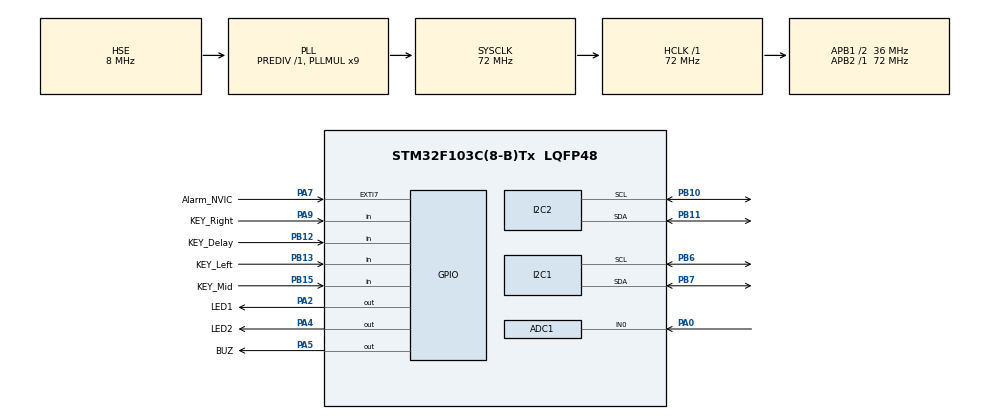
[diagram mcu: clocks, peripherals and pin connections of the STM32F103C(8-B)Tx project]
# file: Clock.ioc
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ADC1.Channel-3\#ChannelRegularConversion=ADC_CHANNEL_0
ADC1.ContinuousConvMode=ENABLE
ADC1.EnableAnalogWatchDog=false
ADC1.NbrOfConversionFlag=1
ADC1.Rank-3\#ChannelRegularConversion=1
ADC1.SamplingTime-3\#ChannelRegularConversion=ADC_SAMPLETIME_239CYCLES_5
ADC1.master=1
Mcu.Family=STM32F1
Mcu.Name=STM32F103C(8-B)Tx
Mcu.Package=LQFP48
NVIC.EXTI9_5_IRQn=true\:0\:0\:false\:false\:true\:true\:true\:true
NVIC.PriorityGroup=NVIC_PRIORITYGROUP_4
PA0-WKUP.Signal=ADCx_IN0
PA13.Mode=Serial_Wire
PA13.Signal=SYS_JTMS-SWDIO
PA14.Mode=Serial_Wire
PA14.Signal=SYS_JTCK-SWCLK
PA2.GPIO_Label=LED1
PA2.GPIO_ModeDefaultOutputPP=GPIO_MODE_OUTPUT_PP
PA2.GPIO_PuPd=GPIO_PULLUP
PA2.PinState=GPIO_PIN_SET
PA2.Signal=GPIO_Output
PA4.GPIO_Label=LED2
PA4.GPIO_PuPd=GPIO_PULLUP
PA4.PinState=GPIO_PIN_SET
PA4.Signal=GPIO_Output
PA5.GPIO_Label=BUZ
PA5.GPIO_ModeDefaultOutputPP=GPIO_MODE_OUTPUT_PP
PA5.GPIO_PuPd=GPIO_PULLUP
PA5.PinState=GPIO_PIN_SET
PA5.Signal=GPIO_Output
PA7.GPIO_Label=Alarm_NVIC
PA7.GPIO_ModeDefaultEXTI=GPIO_MODE_IT_FALLING
PA7.GPIO_PuPd=GPIO_PULLUP
PA7.Signal=GPXTI7
PA9.GPIO_Label=KEY_Right
PA9.GPIO_PuPd=GPIO_PULLUP
PA9.Signal=GPIO_Input
PB10.Mode=I2C
PB10.Signal=I2C2_SCL
PB11.Mode=I2C
PB11.Signal=I2C2_SDA
PB12.GPIO_Label=KEY_Delay
PB12.GPIO_PuPd=GPIO_PULLUP
PB12.Signal=GPIO_Input
PB13.GPIO_Label=KEY_Left
PB13.GPIO_PuPd=GPIO_PULLUP
PB13.Signal=GPIO_Input
PB15.GPIO_Label=KEY_Mid
PB15.GPIO_PuPd=GPIO_PULLUP
PB15.Signal=GPIO_Input
PB6.Mode=I2C
PB6.Signal=I2C1_SCL
PB7.Mode=I2C
PB7.Signal=I2C1_SDA
PD0-OSC_IN.Mode=HSE-External-Oscillator
PD0-OSC_IN.Signal=RCC_OSC_IN
PD1-OSC_OUT.Mode=HSE-External-Oscillator
PD1-OSC_OUT.Signal=RCC_OSC_OUT
ProjectManager.HeapSize=0x200
ProjectManager.StackSize=0x400
ProjectManager.TargetToolchain=STM32CubeIDE
RCC.ADCPresc=RCC_ADCPCLK2_DIV6
RCC.AHBFreq_Value=72000000
RCC.APB1CLKDivider=RCC_HCLK_DIV2
RCC.APB1Freq_Value=36000000
RCC.APB1TimFreq_Value=72000000
RCC.APB2Freq_Value=72000000
RCC.APB2TimFreq_Value=72000000
RCC.HCLKFreq_Value=72000000
RCC.PLLMUL=RCC_PLL_MUL9
RCC.PLLSourceVirtual=RCC_PLLSOURCE_HSE
RCC.SYSCLKFreq_VALUE=72000000
RCC.SYSCLKSource=RCC_SYSCLKSOURCE_PLLCLK
RCC.USBFreq_Value=72000000
SH.ADCx_IN0.0=ADC1_IN0,IN0
board=custom

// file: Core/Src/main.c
/* USER CODE BEGIN Header */
/**
 ******************************************************************************
 * @file           : main.c
 * @brief          : Main program body
 ******************************************************************************
 * @attention
 *
 * Copyright (c) 2026 STMicroelectronics.
 * All rights reserved.
 *
 * This software is licensed under terms that can be found in the LICENSE file
 * in the root directory of this software component.
 * If no LICENSE file comes with this software, it is provided AS-IS.
 *
 ******************************************************************************
 */
/* USER CODE END Header */
#include "main.h"
#include "adc.h"
#include "i2c.h"
#include "gpio.h"

/* USER CODE BEGIN Includes */
#include "LED.h"
#include "delay.h"
#include "display.h"
#include "ds3231.h"
#include "u8g2.h"
#include "key.h"
#include "alarm.h"
/* USER CODE END Includes */

/* USER CODE BEGIN PTD */
DS3231_TimeTypeDef Time;         // DS3231时间结构体实例
DS3231_AlarmTypeDef Alarm1;      // DS3231闹钟结构体实例
u8g2_t u8g2;                     // U8g2结构体实例
/* USER CODE END PTD */

void SystemClock_Config(void);

int main(void)
{

  /* MCU Configuration--------------------------------------------------------*/

  /* Reset of all peripherals, Initializes the Flash interface and the Systick. */
  HAL_Init();

  /* Configure the system clock */
  SystemClock_Config();

  /* Initialize all configured peripherals */
  MX_GPIO_Init();
  MX_I2C2_Init();
  MX_I2C1_Init();
  MX_ADC1_Init();
  /* USER CODE BEGIN 2 */
  Display_init(&u8g2);//初始化显示屏
  /* USER CODE END 2 */

  /* Infinite loop */
  /* USER CODE BEGIN WHILE */
    DS3231_SetTime(26,2, 1, 7, 11, 59, 55); // 设置时间 （只需运行一次，设置完成后可注释掉）
    DS3231_SetAlarm1(12, 00, 30);             // 设置闹钟时间
    DS3231_SetAlarm2(0);                      // 设置整点报时
    while (1)
    {   Key_Scan(&Alarm1);
        Display_ShowTime(&u8g2, &Time, &Alarm1);
        Alarm_Function();
    /* USER CODE END WHILE */

    }
}

void SystemClock_Config(void)
{
  RCC_OscInitTypeDef RCC_OscInitStruct = {0};
  RCC_ClkInitTypeDef RCC_ClkInitStruct = {0};
  RCC_PeriphCLKInitTypeDef PeriphClkInit = {0};

  /** Initializes the RCC Oscillators according to the specified parameters
  * in the RCC_OscInitTypeDef structure.
  */
  RCC_OscInitStruct.OscillatorType = RCC_OSCILLATORTYPE_HSE;
  RCC_OscInitStruct.HSEState = RCC_HSE_ON;
  RCC_OscInitStruct.HSEPredivValue = RCC_HSE_PREDIV_DIV1;
  RCC_OscInitStruct.HSIState = RCC_HSI_ON;
  RCC_OscInitStruct.PLL.PLLState = RCC_PLL_ON;
  RCC_OscInitStruct.PLL.PLLSource = RCC_PLLSOURCE_HSE;
  RCC_OscInitStruct.PLL.PLLMUL = RCC_PLL_MUL9;
  if (HAL_RCC_OscConfig(&RCC_OscInitStruct) != HAL_OK)
  {
    Error_Handler();
  }

  /** Initializes the CPU, AHB and APB buses clocks
  */
  RCC_ClkInitStruct.ClockType = RCC_CLOCKTYPE_HCLK|RCC_CLOCKTYPE_SYSCLK
                              |RCC_CLOCKTYPE_PCLK1|RCC_CLOCKTYPE_PCLK2;
  RCC_ClkInitStruct.SYSCLKSource = RCC_SYSCLKSOURCE_PLLCLK;
  RCC_ClkInitStruct.AHBCLKDivider = RCC_SYSCLK_DIV1;
  RCC_ClkInitStruct.APB1CLKDivider = RCC_HCLK_DIV2;
  RCC_ClkInitStruct.APB2CLKDivider = RCC_HCLK_DIV1;

  if (HAL_RCC_ClockConfig(&RCC_ClkInitStruct, FLASH_LATENCY_2) != HAL_OK)
  {
    Error_Handler();
  }
  PeriphClkInit.PeriphClockSelection = RCC_PERIPHCLK_ADC;
  PeriphClkInit.AdcClockSelection = RCC_ADCPCLK2_DIV6;
  if (HAL_RCCEx_PeriphCLKConfig(&PeriphClkInit) != HAL_OK)
  {
    Error_Handler();
  }
}

void Error_Handler(void)
{
    __disable_irq();
    while (1)
    {
    }
}
